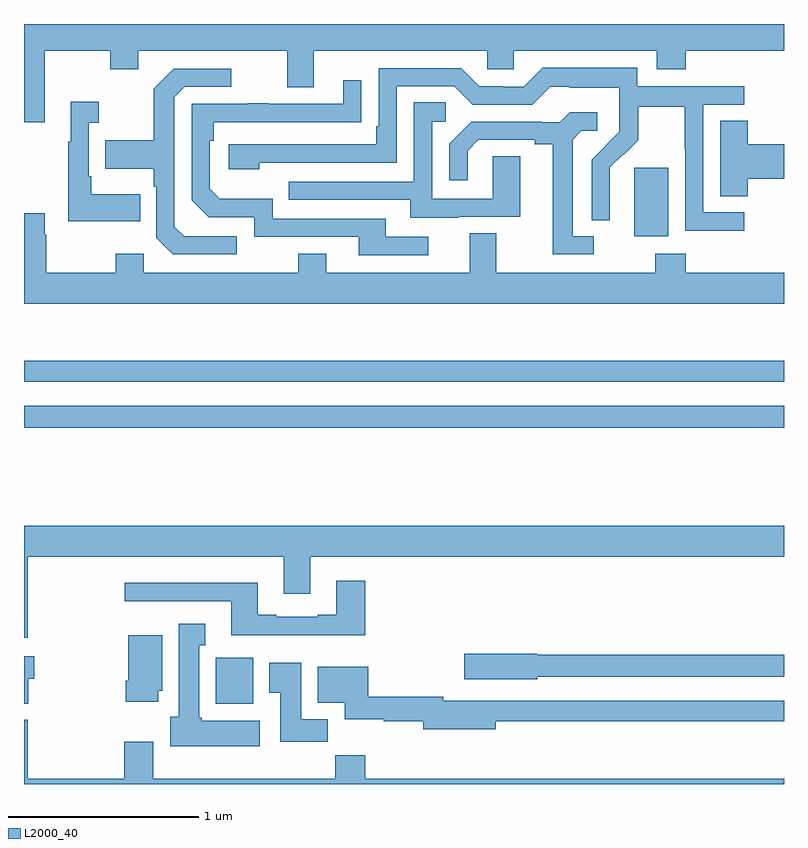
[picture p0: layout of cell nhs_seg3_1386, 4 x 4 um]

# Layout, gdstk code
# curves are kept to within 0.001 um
import gdstk
lib = gdstk.Library(unit=1e-6, precision=1e-09)
def R(c, l, rs):  # rectangles x0, y0, x1, y1
    for r in rs: c.add(gdstk.rectangle(r[:2], r[2:], *l))
def P(c, l, *ps):  # polygons
    for p in ps: c.add(gdstk.Polygon(p, *l))
L2000_40 = (2000, 40)

nhs_seg3_1386 = lib.new_cell('nhs_seg3_1386')
R(nhs_seg3_1386, L2000_40, [(184.01,686.822,184.207,687.064), (183,688.276,187,688.392), (183,688.518,187,688.627), (186.212,689.282,186.391,689.643)])
P(nhs_seg3_1386, L2000_40, [(183.109,690.26),(183.454,690.26),(183.454,690.161),(183.601,690.161),(183.601,690.26),(184.385,690.26),(184.385,690.066),(184.525,690.066),(184.525,690.26),(185.439,690.26),(185.439,690.162),(185.577,690.162),(185.577,690.26),(186.329,690.26),(186.329,690.161),(186.482,690.161),(186.482,690.26),(187,690.26),(187,690.4),(183,690.4),(183,689.883),(183.109,689.883)],
  [(186.79,689.409),(186.576,689.409),(186.576,689.976),(186.79,689.976),(186.79,690.072),(186.228,690.072),(186.228,690.169),(185.731,690.169),(185.631,690.069),(185.516,690.069),(185.516,690.072),(185.397,690.072),(185.301,690.168),(184.866,690.168),(184.866,689.863),(184.853,689.863),(184.853,689.766),(184.077,689.766),(184.077,689.636),(184.238,689.636),(184.238,689.67),(184.962,689.67),(184.962,690.072),(185.265,690.072),(185.361,689.976),(185.676,689.976),(185.769,690.069),(185.869,690.069),(185.869,690.065),(186.132,690.065),(186.132,689.931),(186.134,689.931),(186.134,689.834),(185.988,689.686),(185.988,689.368),(186.084,689.368),(186.083,689.645),(186.153,689.715),(186.156,689.712),(186.233,689.789),(186.233,689.964),(186.478,689.964),(186.478,689.74),(186.48,689.74),(186.48,689.311),(186.79,689.311)],
  [(184.12,689.283),(183.843,689.283),(183.792,689.334),(183.792,690.015),(183.846,690.069),(184.09,690.069),(184.09,690.165),(183.789,690.165),(183.684,690.059),(183.684,689.787),(183.427,689.787),(183.427,689.639),(183.684,689.639),(183.684,689.543),(183.696,689.543),(183.696,689.274),(183.783,689.187),(184.12,689.187)],
  [(185.128,689.28),(184.903,689.28),(184.903,689.376),(184.308,689.376),(184.308,689.479),(184.031,689.479),(183.978,689.532),(183.978,689.786),(183.998,689.786),(183.998,689.883),(184.775,689.884),(184.775,690.103),(184.679,690.103),(184.679,689.979),(184.289,689.979),(184.289,689.984),(184.177,689.984),(184.177,689.979),(183.882,689.979),(183.882,689.472),(183.972,689.382),(184.212,689.382),(184.212,689.28),(184.763,689.28),(184.763,689.184),(185.128,689.184)],
  [(183.611,689.503),(183.355,689.503),(183.355,689.599),(183.342,689.599),(183.342,689.879),(183.394,689.879),(183.394,689.992),(183.245,689.992),(183.245,689.779),(183.234,689.779),(183.234,689.363),(183.611,689.363)],
  [(185.287,689.385),(185.611,689.385),(185.611,689.705),(185.466,689.705),(185.466,689.481),(185.148,689.481),(185.148,689.886),(185.221,689.886),(185.221,689.987),(185.052,689.987),(185.052,689.571),(184.393,689.571),(184.393,689.475),(185.033,689.475),(185.033,689.381),(185.287,689.381)],
  [(185.998,689.283),(185.887,689.283),(185.887,689.791),(185.934,689.838),(186.016,689.838),(186.016,689.935),(185.872,689.935),(185.82,689.883),(185.726,689.883),(185.726,689.886),(185.354,689.886),(185.238,689.77),(185.238,689.577),(185.335,689.577),(185.335,689.733),(185.392,689.79),(185.687,689.79),(185.687,689.768),(185.783,689.768),(185.783,689.187),(185.998,689.187)],
  [(186.809,689.585),(187,689.585),(187,689.768),(186.809,689.768),(186.809,689.891),(186.665,689.891),(186.665,689.494),(186.809,689.494)],
  [(185.345,689.3),(185.345,689.092),(184.591,689.092),(184.591,689.191),(184.444,689.191),(184.444,689.092),(183.63,689.092),(183.63,689.191),(183.484,689.191),(183.484,689.092),(183.117,689.092),(183.117,689.291),(183.109,689.291),(183.109,689.404),(183,689.404),(183,688.928),(187,688.928),(187,689.092),(186.482,689.092),(186.482,689.191),(186.322,689.191),(186.322,689.092),(185.485,689.092),(185.485,689.3)],
  [(183.02,687.596),(184.367,687.596),(184.367,687.402),(184.507,687.402),(184.507,687.596),(187,687.596),(187,687.76),(183,687.76),(183,687.171),(183.02,687.171)],
  [(184.796,687.469),(184.643,687.469),(184.643,687.292),(184.547,687.292),(184.547,687.279),(184.327,687.279),(184.327,687.292),(184.231,687.292),(184.231,687.46),(183.531,687.46),(183.531,687.363),(184.091,687.363),(184.091,687.182),(184.796,687.182)],
  [(184.24,686.734),(183.936,686.734),(183.936,686.748),(183.922,686.748),(183.922,687.131),(183.955,687.131),(183.955,687.244),(183.815,687.244),(183.815,686.754),(183.77,686.754),(183.77,686.6),(184.24,686.6)],
  [(183.706,686.892),(183.727,686.892),(183.727,687.184),(183.548,687.184),(183.548,686.944),(183.536,686.944),(183.536,686.832),(183.706,686.832)],
  [(185.7,686.964),(187,686.964),(187,687.08),(185.7,687.08),(185.7,687.086),(185.316,687.086),(185.316,686.951),(185.7,686.951)],
  [(183.022,686.955),(183.053,686.955),(183.053,687.073),(183,687.073),(183,686.822),(183.022,686.822)],
  [(184.598,686.74),(184.459,686.74),(184.459,687.037),(184.292,687.037),(184.292,686.881),(184.349,686.881),(184.349,686.622),(184.598,686.622)],
  [(185.482,686.73),(187,686.73),(187,686.838),(185.206,686.838),(185.206,686.858),(184.811,686.858),(184.811,687.016),(184.547,687.016),(184.547,686.828),(184.688,686.828),(184.688,686.741),(184.894,686.741),(184.894,686.73),(185.102,686.73),(185.102,686.687),(185.482,686.687)],
  [(187,686.428),(184.796,686.428),(184.796,686.552),(184.639,686.552),(184.639,686.428),(183.679,686.428),(183.679,686.623),(183.527,686.623),(183.527,686.428),(183.02,686.428),(183.02,686.737),(183,686.737),(183,686.4),(187,686.4)])

lib.write_gds('nhs_seg3_1386.gds')
